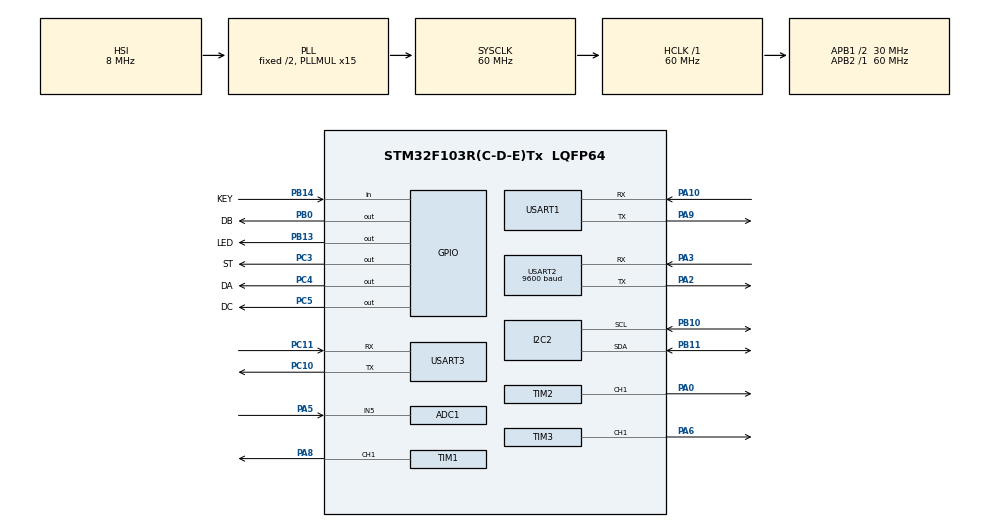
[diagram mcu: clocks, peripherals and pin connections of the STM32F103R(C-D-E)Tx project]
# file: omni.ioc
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ADC1.Channel-0\#ChannelRegularConversion=ADC_CHANNEL_5
ADC1.NbrOfConversionFlag=1
ADC1.Rank-0\#ChannelRegularConversion=1
ADC1.SamplingTime-0\#ChannelRegularConversion=ADC_SAMPLETIME_1CYCLE_5
ADC1.master=1
Mcu.Family=STM32F1
Mcu.Name=STM32F103R(C-D-E)Tx
Mcu.Package=LQFP64
NVIC.PriorityGroup=NVIC_PRIORITYGROUP_4
NVIC.USART1_IRQn=true\:0\:0\:false\:false\:true\:true\:true\:true
NVIC.USART2_IRQn=true\:0\:0\:false\:false\:true\:true\:true\:true
NVIC.USART3_IRQn=true\:0\:0\:false\:false\:true\:true\:true\:true
PA0-WKUP.Signal=S_TIM2_CH1_ETR
PA10.Mode=Asynchronous
PA10.Signal=USART1_RX
PA2.Mode=Asynchronous
PA2.Signal=USART2_TX
PA3.Mode=Asynchronous
PA3.Signal=USART2_RX
PA5.Signal=ADCx_IN5
PA6.Signal=S_TIM3_CH1
PA8.Signal=S_TIM1_CH1
PA9.Mode=Asynchronous
PA9.Signal=USART1_TX
PB0.GPIO_Label=DB
PB0.Signal=GPIO_Output
PB1.Signal=S_TIM3_CH4
PB10.Mode=I2C
PB10.Signal=I2C2_SCL
PB11.Mode=I2C
PB11.Signal=I2C2_SDA
PB13.GPIO_Label=LED
PB13.Signal=GPIO_Output
PB14.GPIO_Label=KEY
PB14.Signal=GPIO_Input
PC10.Mode=Asynchronous
PC10.Signal=USART3_TX
PC11.Mode=Asynchronous
PC11.Signal=USART3_RX
PC3.GPIO_Label=ST
PC3.Signal=GPIO_Output
PC4.GPIO_Label=DA
PC4.Signal=GPIO_Output
PC5.GPIO_Label=DC
PC5.Signal=GPIO_Output
PD0-OSC_IN.Mode=HSE-External-Oscillator
PD0-OSC_IN.Signal=RCC_OSC_IN
PD1-OSC_OUT.Mode=HSE-External-Oscillator
PD1-OSC_OUT.Signal=RCC_OSC_OUT
ProjectManager.HeapSize=0x200
ProjectManager.StackSize=0x400
ProjectManager.TargetToolchain=STM32CubeIDE
RCC.ADCPresc=RCC_ADCPCLK2_DIV6
RCC.AHBFreq_Value=60000000
RCC.APB1CLKDivider=RCC_HCLK_DIV2
RCC.APB1Freq_Value=30000000
RCC.APB1TimFreq_Value=60000000
RCC.APB2Freq_Value=60000000
RCC.APB2TimFreq_Value=60000000
RCC.HCLKFreq_Value=60000000
RCC.HSICalibrationValue=8
RCC.PLLMUL=RCC_PLL_MUL15
RCC.SYSCLKFreq_VALUE=60000000
RCC.SYSCLKSource=RCC_SYSCLKSOURCE_PLLCLK
RCC.USBFreq_Value=60000000
SH.ADCx_IN5.0=ADC1_IN5,IN5
SH.S_TIM1_CH1.0=TIM1_CH1,PWM Generation1 CH1
SH.S_TIM2_CH1_ETR.0=TIM2_CH1,PWM Generation1 CH1
SH.S_TIM3_CH1.0=TIM3_CH1,PWM Generation1 CH1
SH.S_TIM3_CH4.0=TIM3_CH4
TIM1.AutoReloadPreload=TIM_AUTORELOAD_PRELOAD_ENABLE
TIM1.Channel-PWM\ Generation1\ CH1=TIM_CHANNEL_1
TIM2.AutoReloadPreload=TIM_AUTORELOAD_PRELOAD_ENABLE
TIM2.Channel-PWM\ Generation1\ CH1=TIM_CHANNEL_1
TIM3.AutoReloadPreload=TIM_AUTORELOAD_PRELOAD_ENABLE
TIM3.Channel-PWM\ Generation1\ CH1=TIM_CHANNEL_1
USART1.VirtualMode=VM_ASYNC
USART2.BaudRate=9600
USART2.VirtualMode=VM_ASYNC
USART3.VirtualMode=VM_ASYNC
VP_SYS_VS_ND.Mode=No_Debug
board=custom

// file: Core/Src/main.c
/* USER CODE BEGIN Header */
/**
  ******************************************************************************
  * @file           : main.c
  * @brief          : Main program body
  ******************************************************************************
  * @attention
  *
  * Copyright (c) 2024 STMicroelectronics.
  * All rights reserved.
  *
  * This software is licensed under terms that can be found in the LICENSE file
  * in the root directory of this software component.
  * If no LICENSE file comes with this software, it is provided AS-IS.
  *
  ******************************************************************************
  */
/* USER CODE END Header */
#include "../Inc/main.h"
#include <math.h>

/* USER CODE BEGIN PD */
#define ParamentX           (0.5f)
#define ParamentY           (sqrt(3)/2.f)
#define ParamentZ            (20*0.01f)
#define RADIUS_value       (1.0/12.5*0.01f)

#define CMD_FORWARD 'A'
#define CMD_BACKWARD 'E'
#define CMD_LEFT 'C'
#define CMD_RIGHT 'G'
#define CMD_Q 'H'
#define CMD_E 'B'
#define CMD_C 'D'
#define CMD_Z 'F'
#define CMD_STOP 'Z'
#define CMD_SPEED_UP 'X'
#define CMD_SPEED_DOWN 'Y'
#define CMD_OMNI 'L'

#define PWM_FREQ_HZ 2000 // PWM frequency in Hz
#define PWM_PERIOD ((SystemCoreClock / PWM_FREQ_HZ) - 1) // PWM period in system clock counts

#define WHEELS_RADIUS 60 // unit: mm

/* USER CODE END PD */

ADC_HandleTypeDef hadc1;

I2C_HandleTypeDef hi2c2;

TIM_HandleTypeDef htim1;
TIM_HandleTypeDef htim2;
TIM_HandleTypeDef htim3;

UART_HandleTypeDef huart1;
UART_HandleTypeDef huart2;
UART_HandleTypeDef huart3;

/* USER CODE BEGIN PV */
double motorCurrentA = 0, motorCurrentB = 0, motorCurrentC = 0;
double motorTargetA = 0, motorTargetB = 0, motorTargetC = 0;
uint8_t omniflag = 1;
uint8_t bt_rx_data;
int omni = 0; // omni status flag (0: off, 1: on)
double speed = 30; // default speed of the car
double ramp_time = 0; // time to reach full speed
double start_time = 0; // start time of the ramp
double ramp_increment = 0.1; // speed increment per time step
/* USER CODE END PV */

void SystemClock_Config(void);
static void MX_GPIO_Init(void);
static void MX_ADC1_Init(void);
static void MX_I2C2_Init(void);
static void MX_TIM1_Init(void);
static void MX_TIM2_Init(void);
static void MX_TIM3_Init(void);
static void MX_USART2_UART_Init(void);
static void MX_USART3_UART_Init(void);
static void MX_USART1_UART_Init(void);

/* USER CODE BEGIN 0 */

void driveWheel(GPIO_TypeDef* GPIOx, uint16_t GPIO_Pin, TIM_HandleTypeDef* htim, uint32_t Channel, double wheelSpeed) {
    // 这里还需把轮子速度换算成电机速度，首先需要知道轮子的半径，已经在宏定义中定义了，然后根据轮子的半径和电机的速度之间的关系，可以得到电机的速度
    // 这里的轮子速度指的是在该轮子方向矢量上的速度，而电机速度指的是电机的速度
    // 电机速度 = 轮子速度（线速度） / 轮子半径
    //double motorSpeed = wheelSpeed / RADIUS_value;
    wheelSpeed /= 100; // Convert from percentage to fraction

    //还需要根据电机转速算出电机的PWM值

    if (wheelSpeed > 0) {
        HAL_GPIO_WritePin(GPIOx, GPIO_Pin, GPIO_PIN_SET);
        //__HAL_TIM_SET_COMPARE(htim, Channel, wheelSpeed);
        htim->Init.Period = PWM_PERIOD / wheelSpeed; // reset the period
        HAL_TIM_PWM_Init(htim); // apply the new period
        __HAL_TIM_SET_COMPARE(htim, Channel, htim->Init.Period / 2); // set the duty cycle
    } else {
        HAL_GPIO_WritePin(GPIOx, GPIO_Pin, GPIO_PIN_RESET);
        //__HAL_TIM_SET_COMPARE(htim, Channel, -wheelSpeed);
        htim->Init.Period = PWM_PERIOD / -wheelSpeed; // reset the period
        HAL_TIM_PWM_Init(htim); // apply the new period
        __HAL_TIM_SET_COMPARE(htim, Channel, htim->Init.Period / 2); // set the duty cycle
    }
}

void driveWheels() {
    driveWheel(DA_GPIO_Port, DA_Pin, &htim1, TIM_CHANNEL_1, motorCurrentA);
    driveWheel(DB_GPIO_Port, DB_Pin, &htim2, TIM_CHANNEL_1, motorCurrentB);
    driveWheel(DC_GPIO_Port, DC_Pin, &htim3, TIM_CHANNEL_1, motorCurrentC);
}

void vectorControl(float vy, float vx, float vz) {
    motorTargetA = +vy + vz * ParamentZ;
    motorTargetB = -vx * ParamentX - vy * ParamentY + vz * ParamentZ;
    motorTargetC = +vx * ParamentX - vy * ParamentY - vz * ParamentZ;
}

void speedUpdate() {
    static uint32_t last_update_time = 0;
    uint32_t current_time = HAL_GetTick();
    double dt = (current_time - last_update_time) / 1000.0; // time difference in seconds
    last_update_time = current_time;

    if (ramp_time == 0) {
        ramp_time = 2; // Set the ramp time to 3 seconds
        start_time = HAL_GetTick();
    }

    double elapsed_time = (current_time - start_time) / 1000.0; // time elapsed in seconds

    if (elapsed_time < ramp_time) {
        speed = (elapsed_time / ramp_time) * 30; // Linearly interpolate the speed
    } else {
        speed = 30;
    }

    // Update motor speeds
    motorCurrentA = motorTargetA * speed;
    motorCurrentB = motorTargetB * speed;
    motorCurrentC = motorTargetC * speed;
    // 更新电机PWM
    driveWheels();
    //HAL_Delay(3);
}

void blControl(uint8_t cmd) {
    switch (cmd) {
        case CMD_FORWARD:
            vectorControl(0, speed, 0);
            break;
        case CMD_BACKWARD:
            vectorControl(0, -speed, 0);
            break;
        case CMD_LEFT:
            if (omniflag)vectorControl(speed, 0, 0); //turn left
            else vectorControl(0, 0, speed); // counterclockwise
            break;
        case CMD_RIGHT:
            if (omniflag)vectorControl(-speed, 0, 0); // turn right
            else vectorControl(0, 0, -speed); // clockwise
            break;
        case CMD_Q:
            if (omniflag)vectorControl(-speed, speed, 0); // forward right
            break;
        case CMD_E:
            if (omniflag)vectorControl(speed, speed, 0);
            break;
        case CMD_C:
            if (omniflag)vectorControl(speed, -speed, 0);
            break;
        case CMD_Z:
            if (omniflag)vectorControl(-speed, -speed, 0);
            break;
        case CMD_STOP:
            vectorControl(0, 0, 0);//stop
            break;
        case CMD_SPEED_UP:
            speed += 10;
            break;
        case CMD_SPEED_DOWN:
            speed -= 10;
            break;
        case CMD_OMNI:
            omniflag = !omniflag;
            break;
        default:
            break;
    }
}

void HAL_UART_RxCpltCallback(UART_HandleTypeDef *huart)
{
    if (huart->Instance == USART2) // 确保是正确的UART实例
    {
        blControl(bt_rx_data); // 处理接收到的数据
        HAL_UART_Receive_IT(&huart2, &bt_rx_data, 1); // 重新启动中断接收
    }
}
/* USER CODE END 0 */

int main(void)
{

  /* MCU Configuration--------------------------------------------------------*/

  /* Reset of all peripherals, Initializes the Flash interface and the Systick. */
  HAL_Init();

  /* Configure the system clock */
  SystemClock_Config();

  /* Initialize all configured peripherals */
  MX_GPIO_Init();
  MX_ADC1_Init();
  MX_I2C2_Init();
  MX_TIM1_Init();
  MX_TIM2_Init();
  MX_TIM3_Init();
  MX_USART2_UART_Init();
  MX_USART3_UART_Init();
  MX_USART1_UART_Init();
  /* USER CODE BEGIN 2 */
//���ȸ�ST�ߵ�ƽ�������
    HAL_GPIO_WritePin(ST_GPIO_Port, ST_Pin, GPIO_PIN_SET);
    //����PWM���
    HAL_TIM_PWM_Start(&htim1, TIM_CHANNEL_1);//A����ٶ�
    HAL_TIM_PWM_Start(&htim2, TIM_CHANNEL_1);//B����ٶ�
    HAL_TIM_PWM_Start(&htim3, TIM_CHANNEL_1);//C����ٶ�
    vectorControl(0, 0, 0);
    //����LED��
    HAL_GPIO_WritePin(LED_GPIO_Port, LED_Pin, GPIO_PIN_SET);
    HAL_Delay(500);
    HAL_GPIO_WritePin(LED_GPIO_Port, LED_Pin, GPIO_PIN_RESET);
    HAL_Delay(500);
    HAL_GPIO_WritePin(LED_GPIO_Port, LED_Pin, GPIO_PIN_SET);
    HAL_Delay(500);
    HAL_GPIO_WritePin(LED_GPIO_Port, LED_Pin, GPIO_PIN_RESET);
    HAL_Delay(500);
  /* USER CODE END 2 */

  /* Infinite loop */
  /* USER CODE BEGIN WHILE */
    while (1) {
        if (omniflag) HAL_GPIO_WritePin(LED_GPIO_Port, LED_Pin, GPIO_PIN_RESET);
        else HAL_GPIO_WritePin(LED_GPIO_Port, LED_Pin, GPIO_PIN_SET);
        if (HAL_GPIO_ReadPin(KEY_GPIO_Port, KEY_Pin) == GPIO_PIN_RESET) {
            omniflag = !omniflag;
            HAL_Delay(300);//消抖
        }
        //小车往前走
        speedUpdate();
        // uartctl();
    /* USER CODE END WHILE */

    }
}

void SystemClock_Config(void)
{
  RCC_OscInitTypeDef RCC_OscInitStruct = {0};
  RCC_ClkInitTypeDef RCC_ClkInitStruct = {0};
  RCC_PeriphCLKInitTypeDef PeriphClkInit = {0};

  /** Initializes the RCC Oscillators according to the specified parameters
  * in the RCC_OscInitTypeDef structure.
  */
  RCC_OscInitStruct.OscillatorType = RCC_OSCILLATORTYPE_HSI;
  RCC_OscInitStruct.HSIState = RCC_HSI_ON;
  RCC_OscInitStruct.HSICalibrationValue = 8;
  RCC_OscInitStruct.PLL.PLLState = RCC_PLL_ON;
  RCC_OscInitStruct.PLL.PLLSource = RCC_PLLSOURCE_HSI_DIV2;
  RCC_OscInitStruct.PLL.PLLMUL = RCC_PLL_MUL15;
  if (HAL_RCC_OscConfig(&RCC_OscInitStruct) != HAL_OK)
  {
    Error_Handler();
  }

  /** Initializes the CPU, AHB and APB buses clocks
  */
  RCC_ClkInitStruct.ClockType = RCC_CLOCKTYPE_HCLK|RCC_CLOCKTYPE_SYSCLK
                              |RCC_CLOCKTYPE_PCLK1|RCC_CLOCKTYPE_PCLK2;
  RCC_ClkInitStruct.SYSCLKSource = RCC_SYSCLKSOURCE_PLLCLK;
  RCC_ClkInitStruct.AHBCLKDivider = RCC_SYSCLK_DIV1;
  RCC_ClkInitStruct.APB1CLKDivider = RCC_HCLK_DIV2;
  RCC_ClkInitStruct.APB2CLKDivider = RCC_HCLK_DIV1;

  if (HAL_RCC_ClockConfig(&RCC_ClkInitStruct, FLASH_LATENCY_2) != HAL_OK)
  {
    Error_Handler();
  }
  PeriphClkInit.PeriphClockSelection = RCC_PERIPHCLK_ADC;
  PeriphClkInit.AdcClockSelection = RCC_ADCPCLK2_DIV6;
  if (HAL_RCCEx_PeriphCLKConfig(&PeriphClkInit) != HAL_OK)
  {
    Error_Handler();
  }
}

static void MX_ADC1_Init(void)
{

  ADC_ChannelConfTypeDef sConfig = {0};

  /** Common config
  */
  hadc1.Instance = ADC1;
  hadc1.Init.ScanConvMode = ADC_SCAN_DISABLE;
  hadc1.Init.ContinuousConvMode = DISABLE;
  hadc1.Init.DiscontinuousConvMode = DISABLE;
  hadc1.Init.ExternalTrigConv = ADC_SOFTWARE_START;
  hadc1.Init.DataAlign = ADC_DATAALIGN_RIGHT;
  hadc1.Init.NbrOfConversion = 1;
  if (HAL_ADC_Init(&hadc1) != HAL_OK)
  {
    Error_Handler();
  }

  /** Configure Regular Channel
  */
  sConfig.Channel = ADC_CHANNEL_5;
  sConfig.Rank = ADC_REGULAR_RANK_1;
  sConfig.SamplingTime = ADC_SAMPLETIME_1CYCLE_5;
  if (HAL_ADC_ConfigChannel(&hadc1, &sConfig) != HAL_OK)
  {
    Error_Handler();
  }

}

static void MX_I2C2_Init(void)
{

  hi2c2.Instance = I2C2;
  hi2c2.Init.ClockSpeed = 100000;
  hi2c2.Init.DutyCycle = I2C_DUTYCYCLE_2;
  hi2c2.Init.OwnAddress1 = 0;
  hi2c2.Init.AddressingMode = I2C_ADDRESSINGMODE_7BIT;
  hi2c2.Init.DualAddressMode = I2C_DUALADDRESS_DISABLE;
  hi2c2.Init.OwnAddress2 = 0;
  hi2c2.Init.GeneralCallMode = I2C_GENERALCALL_DISABLE;
  hi2c2.Init.NoStretchMode = I2C_NOSTRETCH_DISABLE;
  if (HAL_I2C_Init(&hi2c2) != HAL_OK)
  {
    Error_Handler();
  }

}

static void MX_TIM1_Init(void)
{

  TIM_MasterConfigTypeDef sMasterConfig = {0};
  TIM_OC_InitTypeDef sConfigOC = {0};
  TIM_BreakDeadTimeConfigTypeDef sBreakDeadTimeConfig = {0};

  htim1.Instance = TIM1;
  htim1.Init.Prescaler = 0;
  htim1.Init.CounterMode = TIM_COUNTERMODE_UP;
  htim1.Init.Period = 65535;
  htim1.Init.ClockDivision = TIM_CLOCKDIVISION_DIV1;
  htim1.Init.RepetitionCounter = 0;
  htim1.Init.AutoReloadPreload = TIM_AUTORELOAD_PRELOAD_ENABLE;
  if (HAL_TIM_PWM_Init(&htim1) != HAL_OK)
  {
    Error_Handler();
  }
  sMasterConfig.MasterOutputTrigger = TIM_TRGO_RESET;
  sMasterConfig.MasterSlaveMode = TIM_MASTERSLAVEMODE_DISABLE;
  if (HAL_TIMEx_MasterConfigSynchronization(&htim1, &sMasterConfig) != HAL_OK)
  {
    Error_Handler();
  }
  sConfigOC.OCMode = TIM_OCMODE_PWM1;
  sConfigOC.Pulse = 0;
  sConfigOC.OCPolarity = TIM_OCPOLARITY_HIGH;
  sConfigOC.OCNPolarity = TIM_OCNPOLARITY_HIGH;
  sConfigOC.OCFastMode = TIM_OCFAST_DISABLE;
  sConfigOC.OCIdleState = TIM_OCIDLESTATE_RESET;
  sConfigOC.OCNIdleState = TIM_OCNIDLESTATE_RESET;
  if (HAL_TIM_PWM_ConfigChannel(&htim1, &sConfigOC, TIM_CHANNEL_1) != HAL_OK)
  {
    Error_Handler();
  }
  sBreakDeadTimeConfig.OffStateRunMode = TIM_OSSR_DISABLE;
  sBreakDeadTimeConfig.OffStateIDLEMode = TIM_OSSI_DISABLE;
  sBreakDeadTimeConfig.LockLevel = TIM_LOCKLEVEL_OFF;
  sBreakDeadTimeConfig.DeadTime = 0;
  sBreakDeadTimeConfig.BreakState = TIM_BREAK_DISABLE;
  sBreakDeadTimeConfig.BreakPolarity = TIM_BREAKPOLARITY_HIGH;
  sBreakDeadTimeConfig.AutomaticOutput = TIM_AUTOMATICOUTPUT_DISABLE;
  if (HAL_TIMEx_ConfigBreakDeadTime(&htim1, &sBreakDeadTimeConfig) != HAL_OK)
  {
    Error_Handler();
  }
  HAL_TIM_MspPostInit(&htim1);

}

static void MX_TIM2_Init(void)
{

  TIM_MasterConfigTypeDef sMasterConfig = {0};
  TIM_OC_InitTypeDef sConfigOC = {0};

  htim2.Instance = TIM2;
  htim2.Init.Prescaler = 0;
  htim2.Init.CounterMode = TIM_COUNTERMODE_UP;
  htim2.Init.Period = 65535;
  htim2.Init.ClockDivision = TIM_CLOCKDIVISION_DIV1;
  htim2.Init.AutoReloadPreload = TIM_AUTORELOAD_PRELOAD_ENABLE;
  if (HAL_TIM_PWM_Init(&htim2) != HAL_OK)
  {
    Error_Handler();
  }
  sMasterConfig.MasterOutputTrigger = TIM_TRGO_RESET;
  sMasterConfig.MasterSlaveMode = TIM_MASTERSLAVEMODE_DISABLE;
  if (HAL_TIMEx_MasterConfigSynchronization(&htim2, &sMasterConfig) != HAL_OK)
  {
    Error_Handler();
  }
  sConfigOC.OCMode = TIM_OCMODE_PWM1;
  sConfigOC.Pulse = 0;
  sConfigOC.OCPolarity = TIM_OCPOLARITY_HIGH;
  sConfigOC.OCFastMode = TIM_OCFAST_DISABLE;
  if (HAL_TIM_PWM_ConfigChannel(&htim2, &sConfigOC, TIM_CHANNEL_1) != HAL_OK)
  {
    Error_Handler();
  }
  HAL_TIM_MspPostInit(&htim2);

}

static void MX_TIM3_Init(void)
{

  TIM_MasterConfigTypeDef sMasterConfig = {0};
  TIM_OC_InitTypeDef sConfigOC = {0};

  htim3.Instance = TIM3;
  htim3.Init.Prescaler = 0;
  htim3.Init.CounterMode = TIM_COUNTERMODE_UP;
  htim3.Init.Period = 65535;
  htim3.Init.ClockDivision = TIM_CLOCKDIVISION_DIV1;
  htim3.Init.AutoReloadPreload = TIM_AUTORELOAD_PRELOAD_ENABLE;
  if (HAL_TIM_PWM_Init(&htim3) != HAL_OK)
  {
    Error_Handler();
  }
  sMasterConfig.MasterOutputTrigger = TIM_TRGO_RESET;
  sMasterConfig.MasterSlaveMode = TIM_MASTERSLAVEMODE_DISABLE;
  if (HAL_TIMEx_MasterConfigSynchronization(&htim3, &sMasterConfig) != HAL_OK)
  {
    Error_Handler();
  }
  sConfigOC.OCMode = TIM_OCMODE_PWM1;
  sConfigOC.Pulse = 0;
  sConfigOC.OCPolarity = TIM_OCPOLARITY_HIGH;
  sConfigOC.OCFastMode = TIM_OCFAST_DISABLE;
  if (HAL_TIM_PWM_ConfigChannel(&htim3, &sConfigOC, TIM_CHANNEL_1) != HAL_OK)
  {
    Error_Handler();
  }
  HAL_TIM_MspPostInit(&htim3);

}

static void MX_USART1_UART_Init(void)
{

  huart1.Instance = USART1;
  huart1.Init.BaudRate = 115200;
  huart1.Init.WordLength = UART_WORDLENGTH_8B;
  huart1.Init.StopBits = UART_STOPBITS_1;
  huart1.Init.Parity = UART_PARITY_NONE;
  huart1.Init.Mode = UART_MODE_TX_RX;
  huart1.Init.HwFlowCtl = UART_HWCONTROL_NONE;
  huart1.Init.OverSampling = UART_OVERSAMPLING_16;
  if (HAL_UART_Init(&huart1) != HAL_OK)
  {
    Error_Handler();
  }

}

static void MX_USART2_UART_Init(void)
{

  huart2.Instance = USART2;
  huart2.Init.BaudRate = 9600;
  huart2.Init.WordLength = UART_WORDLENGTH_8B;
  huart2.Init.StopBits = UART_STOPBITS_1;
  huart2.Init.Parity = UART_PARITY_NONE;
  huart2.Init.Mode = UART_MODE_TX_RX;
  huart2.Init.HwFlowCtl = UART_HWCONTROL_NONE;
  huart2.Init.OverSampling = UART_OVERSAMPLING_16;
  if (HAL_UART_Init(&huart2) != HAL_OK)
  {
    Error_Handler();
  }
  /* USER CODE BEGIN USART2_Init 2 */
    HAL_UART_Receive_IT(&huart2, &bt_rx_data, 1);
  /* USER CODE END USART2_Init 2 */

}

static void MX_USART3_UART_Init(void)
{

  huart3.Instance = USART3;
  huart3.Init.BaudRate = 115200;
  huart3.Init.WordLength = UART_WORDLENGTH_8B;
  huart3.Init.StopBits = UART_STOPBITS_1;
  huart3.Init.Parity = UART_PARITY_NONE;
  huart3.Init.Mode = UART_MODE_TX_RX;
  huart3.Init.HwFlowCtl = UART_HWCONTROL_NONE;
  huart3.Init.OverSampling = UART_OVERSAMPLING_16;
  if (HAL_UART_Init(&huart3) != HAL_OK)
  {
    Error_Handler();
  }

}

static void MX_GPIO_Init(void)
{
  GPIO_InitTypeDef GPIO_InitStruct = {0};

  /* GPIO Ports Clock Enable */
  __HAL_RCC_GPIOD_CLK_ENABLE();
  __HAL_RCC_GPIOC_CLK_ENABLE();
  __HAL_RCC_GPIOA_CLK_ENABLE();
  __HAL_RCC_GPIOB_CLK_ENABLE();

  /*Configure GPIO pin Output Level */
  HAL_GPIO_WritePin(GPIOC, ST_Pin|DA_Pin|DC_Pin, GPIO_PIN_RESET);

  /*Configure GPIO pin Output Level */
  HAL_GPIO_WritePin(GPIOB, DB_Pin|LED_Pin, GPIO_PIN_RESET);

  /*Configure GPIO pins : ST_Pin DA_Pin DC_Pin */
  GPIO_InitStruct.Pin = ST_Pin|DA_Pin|DC_Pin;
  GPIO_InitStruct.Mode = GPIO_MODE_OUTPUT_PP;
  GPIO_InitStruct.Pull = GPIO_NOPULL;
  GPIO_InitStruct.Speed = GPIO_SPEED_FREQ_LOW;
  HAL_GPIO_Init(GPIOC, &GPIO_InitStruct);

  /*Configure GPIO pins : DB_Pin LED_Pin */
  GPIO_InitStruct.Pin = DB_Pin|LED_Pin;
  GPIO_InitStruct.Mode = GPIO_MODE_OUTPUT_PP;
  GPIO_InitStruct.Pull = GPIO_NOPULL;
  GPIO_InitStruct.Speed = GPIO_SPEED_FREQ_LOW;
  HAL_GPIO_Init(GPIOB, &GPIO_InitStruct);

  /*Configure GPIO pin : KEY_Pin */
  GPIO_InitStruct.Pin = KEY_Pin;
  GPIO_InitStruct.Mode = GPIO_MODE_INPUT;
  GPIO_InitStruct.Pull = GPIO_NOPULL;
  HAL_GPIO_Init(KEY_GPIO_Port, &GPIO_InitStruct);

}

void Error_Handler(void)
{
    __disable_irq();
    while (1) {
    }
}
